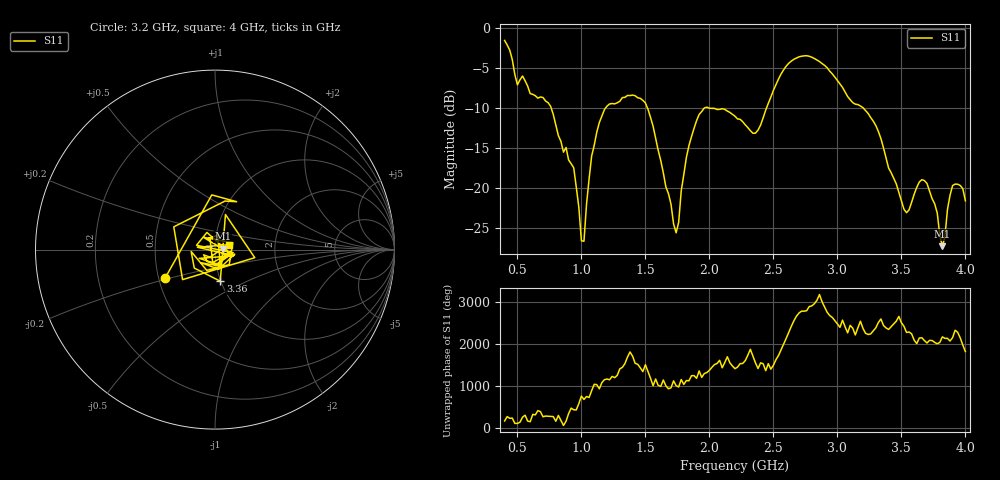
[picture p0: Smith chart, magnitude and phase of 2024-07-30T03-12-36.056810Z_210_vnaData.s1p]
!Created with skrf (http://scikit-rf.org).
# Hz S RI R 50.0
!freq ReS11 ImS11
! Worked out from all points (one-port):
!   181 points, 400 MHz to 4 GHz, reference 50 ohm
!   lowest |S11| = -27.3 dB at 3.82 GHz (marker M1), VSWR 1.09, Z = 54.5 + j0.662 ohm
!   |S11| at or under -10 dB: 1.517 GHz to 1.959 GHz (442.8 MHz wide, 25.5 % of centre); 1.998 GHz to 2.446 GHz (448.1 MHz wide, 20.2 % of centre); 3.203 GHz to end of sweep (the widest 3 of 4)
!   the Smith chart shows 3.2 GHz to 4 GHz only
!   S11 on the Smith chart (normalised r, x): 3.2 GHz: 0.54, -0.19; 3.36 GHz: 1.00, -0.36; 4 GHz: 1.17, +0.06
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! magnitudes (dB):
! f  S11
! 400 MHz  -1.5
! 500 MHz  -7.1
! 760 MHz  -9.8
! 860 MHz  -15.5
! 940 MHz  -17.5
! 1 GHz  -26.6
! 1.02 GHz  -26.7
! 1.08 GHz  -16.0
! 1.12 GHz  -13.0
! 1.3 GHz  -9.1
! 1.5 GHz  -9.3
! 1.72 GHz  -24.5
! 1.76 GHz  -24.3
! 1.82 GHz  -16.2
! 1.92 GHz  -10.8
! 2.2 GHz  -11.0
! 2.36 GHz  -13.1
! 2.66 GHz  -3.9
! 2.86 GHz  -4.2
! 3.1 GHz  -8.9
! 3.2 GHz  -9.9
! 3.36 GHz  -15.0
! 3.56 GHz  -22.7
! 3.68 GHz  -19.1
! 3.78 GHz  -23.1
! 3.82 GHz  -27.3
! 3.9 GHz  -19.7
! 4 GHz  -21.6
